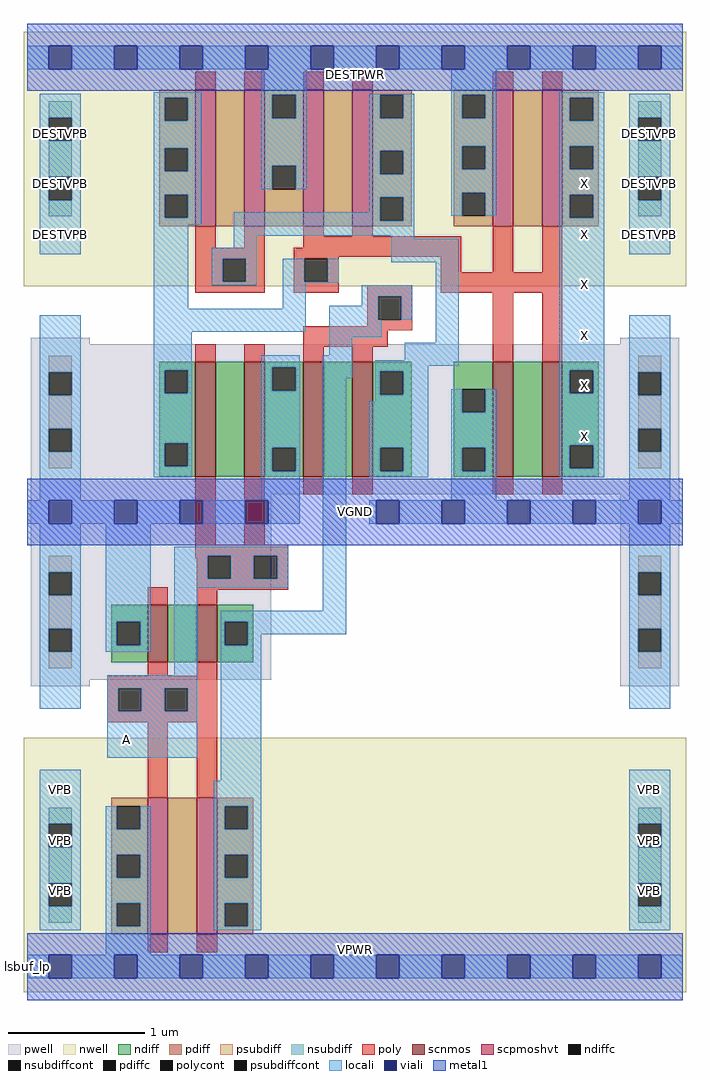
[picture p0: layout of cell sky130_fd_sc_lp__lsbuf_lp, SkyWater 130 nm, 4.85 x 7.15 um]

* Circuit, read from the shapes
.subckt sky130_fd_sc_lp__lsbuf_lp A DESTPWR DESTVPB VGND VPB VPWR X
XM1 n1 A VGND VGND sky130_fd_pr__nfet_01v8 w=0.42 l=0.15
XM2 n2 A n3 VGND sky130_fd_pr__nfet_01v8 w=0.84 l=0.15
XM3 n4 A n1 VGND sky130_fd_pr__nfet_01v8 w=0.42 l=0.15
XM4 VGND A n2 VGND sky130_fd_pr__nfet_01v8 w=0.84 l=0.15
XM5 n5 n4 VGND VGND sky130_fd_pr__nfet_01v8 w=0.84 l=0.15
XM6 n6 n4 n5 VGND sky130_fd_pr__nfet_01v8 w=0.84 l=0.15
XM7 n7 n3 VGND VGND sky130_fd_pr__nfet_01v8 w=0.84 l=0.15
XM8 X n3 n7 VGND sky130_fd_pr__nfet_01v8 w=0.84 l=0.15
XM9 n8 A VPWR VPB sky130_fd_pr__pfet_01v8_hvt w=1 l=0.15
XM10 n9 n6 n3 DESTVPB sky130_fd_pr__pfet_01v8_hvt w=1 l=0.15
XM11 n4 A n8 VPB sky130_fd_pr__pfet_01v8_hvt w=1 l=0.15
XM12 DESTPWR n6 n9 DESTVPB sky130_fd_pr__pfet_01v8_hvt w=1 l=0.15
XM13 n10 n3 DESTPWR DESTVPB sky130_fd_pr__pfet_01v8_hvt w=1 l=0.15
XM14 n6 n3 n10 DESTVPB sky130_fd_pr__pfet_01v8_hvt w=1 l=0.15
XM15 n11 n3 DESTPWR DESTVPB sky130_fd_pr__pfet_01v8_hvt w=1 l=0.15
XM16 X n3 n11 DESTVPB sky130_fd_pr__pfet_01v8_hvt w=1 l=0.15
.ends

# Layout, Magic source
magic
tech sky130A
magscale 1 2
<< nwell >>
rect -5 997 965 1370
rect -5 -38 965 335
<< pwell >>
rect 5 912 91 921
rect 869 912 955 921
rect 5 692 955 912
rect 5 420 357 692
rect 5 411 91 420
rect 869 411 955 692
<< scnmos >>
rect 246 718 276 886
rect 318 718 348 886
rect 404 718 434 886
rect 476 718 506 886
rect 682 718 712 886
rect 754 718 784 886
rect 176 446 206 530
rect 248 446 278 530
<< scpmoshvt >>
rect 246 1085 276 1285
rect 318 1085 348 1285
rect 404 1085 434 1285
rect 476 1085 506 1285
rect 682 1085 712 1285
rect 754 1085 784 1285
rect 176 47 206 247
rect 248 47 278 247
<< ndiff >>
rect 193 874 246 886
rect 193 840 201 874
rect 235 840 246 874
rect 193 767 246 840
rect 193 733 201 767
rect 235 733 246 767
rect 193 718 246 733
rect 276 718 318 886
rect 348 878 404 886
rect 348 844 359 878
rect 393 844 404 878
rect 348 760 404 844
rect 348 726 359 760
rect 393 726 404 760
rect 348 718 404 726
rect 434 718 476 886
rect 506 872 563 886
rect 506 838 517 872
rect 551 838 563 872
rect 506 760 563 838
rect 506 726 517 760
rect 551 726 563 760
rect 506 718 563 726
rect 625 846 682 886
rect 625 812 637 846
rect 671 812 682 846
rect 625 760 682 812
rect 625 726 637 760
rect 671 726 682 760
rect 625 718 682 726
rect 712 718 754 886
rect 784 874 837 886
rect 784 840 795 874
rect 829 840 837 874
rect 784 764 837 840
rect 784 730 795 764
rect 829 730 837 764
rect 784 718 837 730
rect 123 505 176 530
rect 123 471 131 505
rect 165 471 176 505
rect 123 446 176 471
rect 206 446 248 530
rect 278 505 331 530
rect 278 471 289 505
rect 323 471 331 505
rect 278 446 331 471
<< pdiff >>
rect 193 1273 246 1285
rect 193 1239 201 1273
rect 235 1239 246 1273
rect 193 1199 246 1239
rect 193 1165 201 1199
rect 235 1165 246 1199
rect 193 1131 246 1165
rect 193 1097 201 1131
rect 235 1097 246 1131
rect 193 1085 246 1097
rect 276 1085 318 1285
rect 348 1277 404 1285
rect 348 1243 359 1277
rect 393 1243 404 1277
rect 348 1173 404 1243
rect 348 1139 359 1173
rect 393 1139 404 1173
rect 348 1085 404 1139
rect 434 1085 476 1285
rect 506 1277 563 1285
rect 506 1243 517 1277
rect 551 1243 563 1277
rect 506 1195 563 1243
rect 506 1161 517 1195
rect 551 1161 563 1195
rect 506 1127 563 1161
rect 506 1093 517 1127
rect 551 1093 563 1127
rect 506 1085 563 1093
rect 625 1277 682 1285
rect 625 1243 637 1277
rect 671 1243 682 1277
rect 625 1202 682 1243
rect 625 1168 637 1202
rect 671 1168 682 1202
rect 625 1134 682 1168
rect 625 1100 637 1134
rect 671 1100 682 1134
rect 625 1085 682 1100
rect 712 1085 754 1285
rect 784 1273 837 1285
rect 784 1239 795 1273
rect 829 1239 837 1273
rect 784 1202 837 1239
rect 784 1168 795 1202
rect 829 1168 837 1202
rect 784 1131 837 1168
rect 784 1097 795 1131
rect 829 1097 837 1131
rect 784 1085 837 1097
rect 123 235 176 247
rect 123 201 131 235
rect 165 201 176 235
rect 123 164 176 201
rect 123 130 131 164
rect 165 130 176 164
rect 123 93 176 130
rect 123 59 131 93
rect 165 59 176 93
rect 123 47 176 59
rect 206 47 248 247
rect 278 235 331 247
rect 278 201 289 235
rect 323 201 331 235
rect 278 164 331 201
rect 278 130 289 164
rect 323 130 331 164
rect 278 93 331 130
rect 278 59 289 93
rect 323 59 331 93
rect 278 47 331 59
<< ndiffc >>
rect 201 840 235 874
rect 201 733 235 767
rect 359 844 393 878
rect 359 726 393 760
rect 517 838 551 872
rect 517 726 551 760
rect 637 812 671 846
rect 637 726 671 760
rect 795 840 829 874
rect 795 730 829 764
rect 131 471 165 505
rect 289 471 323 505
<< pdiffc >>
rect 201 1239 235 1273
rect 201 1165 235 1199
rect 201 1097 235 1131
rect 359 1243 393 1277
rect 359 1139 393 1173
rect 517 1243 551 1277
rect 517 1161 551 1195
rect 517 1093 551 1127
rect 637 1243 671 1277
rect 637 1168 671 1202
rect 637 1100 671 1134
rect 795 1239 829 1273
rect 795 1168 829 1202
rect 795 1097 829 1131
rect 131 201 165 235
rect 131 130 165 164
rect 131 59 165 93
rect 289 201 323 235
rect 289 130 323 164
rect 289 59 323 93
<< psubdiff >>
rect 31 871 65 895
rect 31 788 65 837
rect 31 730 65 754
rect 895 871 929 895
rect 895 788 929 837
rect 895 730 929 754
rect 31 578 65 602
rect 31 495 65 544
rect 895 578 929 602
rect 31 437 65 461
rect 895 495 929 544
rect 895 437 929 461
<< nsubdiff >>
rect 31 1244 65 1268
rect 31 1157 65 1210
rect 31 1099 65 1123
rect 895 1244 929 1268
rect 895 1157 929 1210
rect 895 1099 929 1123
rect 31 209 65 233
rect 31 122 65 175
rect 31 64 65 88
rect 895 209 929 233
rect 895 122 929 175
rect 895 64 929 88
<< psubdiffcont >>
rect 31 837 65 871
rect 31 754 65 788
rect 895 837 929 871
rect 895 754 929 788
rect 31 544 65 578
rect 895 544 929 578
rect 31 461 65 495
rect 895 461 929 495
<< nsubdiffcont >>
rect 31 1210 65 1244
rect 31 1123 65 1157
rect 895 1210 929 1244
rect 895 1123 929 1157
rect 31 175 65 209
rect 31 88 65 122
rect 895 175 929 209
rect 895 88 929 122
<< poly >>
rect 246 1285 276 1311
rect 318 1285 348 1311
rect 404 1285 434 1311
rect 476 1285 506 1311
rect 682 1285 712 1311
rect 754 1285 784 1311
rect 246 1053 276 1085
rect 318 1053 348 1085
rect 404 1070 434 1085
rect 476 1070 506 1085
rect 404 1053 636 1070
rect 246 1037 348 1053
rect 246 1003 286 1037
rect 320 1003 348 1037
rect 246 987 348 1003
rect 390 1040 636 1053
rect 390 1037 456 1040
rect 390 1003 406 1037
rect 440 1003 456 1037
rect 390 987 456 1003
rect 606 1017 636 1040
rect 682 1017 712 1085
rect 754 1017 784 1085
rect 498 982 564 998
rect 606 987 784 1017
rect 498 948 514 982
rect 548 948 564 982
rect 498 938 564 948
rect 404 932 564 938
rect 246 886 276 912
rect 318 886 348 912
rect 404 908 528 932
rect 404 886 434 908
rect 476 886 506 908
rect 682 886 712 987
rect 754 886 784 987
rect 246 618 276 718
rect 318 618 348 718
rect 404 692 434 718
rect 476 692 506 718
rect 682 692 712 718
rect 754 692 784 718
rect 246 602 382 618
rect 246 598 264 602
rect 248 568 264 598
rect 298 568 332 602
rect 366 568 382 602
rect 176 530 206 556
rect 248 552 382 568
rect 248 530 278 552
rect 176 426 206 446
rect 248 426 278 446
rect 117 408 278 426
rect 117 374 133 408
rect 167 374 201 408
rect 235 374 278 408
rect 117 358 278 374
rect 176 247 206 358
rect 248 247 278 358
rect 176 21 206 47
rect 248 21 278 47
<< polycont >>
rect 286 1003 320 1037
rect 406 1003 440 1037
rect 514 948 548 982
rect 264 568 298 602
rect 332 568 366 602
rect 133 374 167 408
rect 201 374 235 408
<< locali >>
rect 0 1315 31 1349
rect 65 1315 127 1349
rect 161 1315 223 1349
rect 257 1315 319 1349
rect 353 1315 415 1349
rect 449 1315 511 1349
rect 545 1315 607 1349
rect 641 1315 703 1349
rect 737 1315 799 1349
rect 833 1315 895 1349
rect 929 1315 960 1349
rect 18 1244 78 1279
rect 18 1210 31 1244
rect 65 1210 78 1244
rect 18 1157 78 1210
rect 18 1123 31 1157
rect 65 1123 78 1157
rect 18 1044 78 1123
rect 185 1273 255 1281
rect 185 1239 201 1273
rect 235 1239 255 1273
rect 185 1199 255 1239
rect 185 1165 201 1199
rect 235 1165 255 1199
rect 185 1131 255 1165
rect 343 1277 409 1315
rect 343 1243 359 1277
rect 393 1243 409 1277
rect 343 1173 409 1243
rect 343 1139 359 1173
rect 393 1139 409 1173
rect 501 1277 567 1279
rect 501 1243 517 1277
rect 551 1243 567 1277
rect 501 1195 567 1243
rect 501 1161 517 1195
rect 551 1161 567 1195
rect 185 1097 201 1131
rect 235 1097 255 1131
rect 501 1127 567 1161
rect 501 1105 517 1127
rect 185 1087 255 1097
rect 302 1093 517 1105
rect 551 1093 567 1127
rect 621 1277 687 1315
rect 621 1243 637 1277
rect 671 1243 687 1277
rect 621 1202 687 1243
rect 621 1168 637 1202
rect 671 1168 687 1202
rect 621 1134 687 1168
rect 621 1100 637 1134
rect 671 1100 687 1134
rect 779 1273 845 1281
rect 779 1239 795 1273
rect 829 1239 845 1273
rect 779 1202 845 1239
rect 779 1168 795 1202
rect 829 1168 845 1202
rect 779 1131 845 1168
rect 185 964 236 1087
rect 302 1071 567 1093
rect 302 1053 336 1071
rect 270 1037 336 1053
rect 533 1066 567 1071
rect 779 1097 795 1131
rect 829 1097 845 1131
rect 270 1003 286 1037
rect 320 1003 336 1037
rect 270 998 336 1003
rect 374 1003 406 1037
rect 440 1003 456 1037
rect 533 1032 632 1066
rect 374 1002 456 1003
rect 374 964 408 1002
rect 490 982 564 998
rect 490 968 514 982
rect 18 871 78 954
rect 18 837 31 871
rect 65 837 78 871
rect 18 788 78 837
rect 18 754 31 788
rect 65 754 78 788
rect 18 683 78 754
rect 185 930 408 964
rect 442 948 514 968
rect 548 948 564 982
rect 185 874 241 930
rect 442 922 519 948
rect 442 896 476 922
rect 598 914 632 1032
rect 185 840 201 874
rect 235 840 241 874
rect 185 767 241 840
rect 185 733 201 767
rect 235 733 241 767
rect 185 717 241 733
rect 343 878 399 896
rect 343 844 359 878
rect 393 844 399 878
rect 343 760 399 844
rect 343 726 359 760
rect 393 726 399 760
rect 343 683 399 726
rect 0 649 31 683
rect 65 649 127 683
rect 161 649 223 683
rect 257 649 319 683
rect 353 649 399 683
rect 433 862 476 896
rect 553 888 632 914
rect 510 880 632 888
rect 510 872 587 880
rect 18 578 78 649
rect 18 544 31 578
rect 65 544 78 578
rect 18 495 78 544
rect 18 461 31 495
rect 65 461 78 495
rect 115 505 181 649
rect 115 471 131 505
rect 165 471 181 505
rect 115 461 181 471
rect 215 602 382 615
rect 215 568 264 602
rect 298 568 332 602
rect 366 568 382 602
rect 215 555 382 568
rect 18 378 78 461
rect 215 427 249 555
rect 433 521 467 862
rect 510 838 517 872
rect 551 838 587 872
rect 779 874 845 1097
rect 882 1244 942 1279
rect 882 1210 895 1244
rect 929 1210 942 1244
rect 882 1157 942 1210
rect 882 1123 895 1157
rect 929 1123 942 1157
rect 882 1044 942 1123
rect 510 828 587 838
rect 501 760 587 828
rect 501 726 517 760
rect 551 726 587 760
rect 501 717 587 726
rect 621 812 637 846
rect 671 812 687 846
rect 621 760 687 812
rect 621 726 637 760
rect 671 726 687 760
rect 621 683 687 726
rect 779 840 795 874
rect 829 840 845 874
rect 779 764 845 840
rect 779 730 795 764
rect 829 730 845 764
rect 779 717 845 730
rect 882 871 942 954
rect 882 837 895 871
rect 929 837 942 871
rect 882 788 942 837
rect 882 754 895 788
rect 929 754 942 788
rect 882 683 942 754
rect 501 649 511 683
rect 545 649 607 683
rect 641 649 703 683
rect 737 649 799 683
rect 833 649 895 683
rect 929 649 960 683
rect 117 408 249 427
rect 117 374 133 408
rect 167 374 201 408
rect 235 374 249 408
rect 117 306 249 374
rect 283 505 467 521
rect 283 471 289 505
rect 323 487 467 505
rect 882 578 942 649
rect 882 544 895 578
rect 929 544 942 578
rect 882 495 942 544
rect 323 471 343 487
rect 18 209 78 288
rect 283 272 343 471
rect 882 461 895 495
rect 929 461 942 495
rect 882 378 942 461
rect 273 235 343 272
rect 18 175 31 209
rect 65 175 78 209
rect 18 122 78 175
rect 18 88 31 122
rect 65 88 78 122
rect 18 53 78 88
rect 115 201 131 235
rect 165 201 181 235
rect 115 164 181 201
rect 115 130 131 164
rect 165 130 181 164
rect 115 93 181 130
rect 115 59 131 93
rect 165 59 181 93
rect 115 17 181 59
rect 273 201 289 235
rect 323 201 343 235
rect 273 164 343 201
rect 273 130 289 164
rect 323 130 343 164
rect 273 93 343 130
rect 273 59 289 93
rect 323 59 343 93
rect 273 53 343 59
rect 882 209 942 288
rect 882 175 895 209
rect 929 175 942 209
rect 882 122 942 175
rect 882 88 895 122
rect 929 88 942 122
rect 882 53 942 88
rect 0 -17 31 17
rect 65 -17 127 17
rect 161 -17 223 17
rect 257 -17 319 17
rect 353 -17 415 17
rect 449 -17 511 17
rect 545 -17 607 17
rect 641 -17 703 17
rect 737 -17 799 17
rect 833 -17 895 17
rect 929 -17 960 17
<< viali >>
rect 31 1315 65 1349
rect 127 1315 161 1349
rect 223 1315 257 1349
rect 319 1315 353 1349
rect 415 1315 449 1349
rect 511 1315 545 1349
rect 607 1315 641 1349
rect 703 1315 737 1349
rect 799 1315 833 1349
rect 895 1315 929 1349
rect 31 649 65 683
rect 127 649 161 683
rect 223 649 257 683
rect 319 649 353 683
rect 511 649 545 683
rect 607 649 641 683
rect 703 649 737 683
rect 799 649 833 683
rect 895 649 929 683
rect 31 -17 65 17
rect 127 -17 161 17
rect 223 -17 257 17
rect 319 -17 353 17
rect 415 -17 449 17
rect 511 -17 545 17
rect 607 -17 641 17
rect 703 -17 737 17
rect 799 -17 833 17
rect 895 -17 929 17
<< metal1 >>
rect 0 1349 960 1381
rect 0 1315 31 1349
rect 65 1315 127 1349
rect 161 1315 223 1349
rect 257 1315 319 1349
rect 353 1315 415 1349
rect 449 1315 511 1349
rect 545 1315 607 1349
rect 641 1315 703 1349
rect 737 1315 799 1349
rect 833 1315 895 1349
rect 929 1315 960 1349
rect 0 1283 960 1315
rect 0 683 960 715
rect 0 649 31 683
rect 65 649 127 683
rect 161 649 223 683
rect 257 649 319 683
rect 353 649 511 683
rect 545 649 607 683
rect 641 649 703 683
rect 737 649 799 683
rect 833 649 895 683
rect 929 649 960 683
rect 0 617 960 649
rect 0 17 960 49
rect 0 -17 31 17
rect 65 -17 127 17
rect 161 -17 223 17
rect 257 -17 319 17
rect 353 -17 415 17
rect 449 -17 511 17
rect 545 -17 607 17
rect 641 -17 703 17
rect 737 -17 799 17
rect 833 -17 895 17
rect 929 -17 960 17
rect 0 -49 960 -17
<< labels >>
flabel locali s 799 760 833 794 0 FreeSans 200 0 0 0 X
port 7 nsew signal output
flabel locali s 799 834 833 868 0 FreeSans 200 0 0 0 X
port 7 nsew signal output
flabel locali s 799 1130 833 1164 0 FreeSans 200 0 0 0 X
port 7 nsew signal output
flabel locali s 799 1056 833 1090 0 FreeSans 200 0 0 0 X
port 7 nsew signal output
flabel locali s 799 982 833 1016 0 FreeSans 200 0 0 0 X
port 7 nsew signal output
flabel locali s 799 908 833 942 0 FreeSans 200 0 0 0 X
port 7 nsew signal output
flabel locali s 128 316 162 350 0 FreeSans 200 0 0 0 A
port 1 nsew signal input
flabel locali s 31 242 65 276 0 FreeSans 340 0 0 0 VPB
port 5 nsew power bidirectional
flabel locali s 31 94 65 128 0 FreeSans 340 0 0 0 VPB
port 5 nsew power bidirectional
flabel locali s 31 168 65 202 0 FreeSans 340 0 0 0 VPB
port 5 nsew power bidirectional
flabel locali s 31 1204 65 1238 0 FreeSans 150 0 0 0 DESTVPB
port 3 nsew power bidirectional
flabel locali s 31 1130 65 1164 0 FreeSans 150 0 0 0 DESTVPB
port 3 nsew power bidirectional
flabel locali s 895 94 929 128 0 FreeSans 340 0 0 0 VPB
port 5 nsew power bidirectional
flabel locali s 895 168 929 202 0 FreeSans 340 0 0 0 VPB
port 5 nsew power bidirectional
flabel locali s 895 1204 929 1238 0 FreeSans 150 0 0 0 DESTVPB
port 3 nsew power bidirectional
flabel locali s 895 1130 929 1164 0 FreeSans 150 0 0 0 DESTVPB
port 3 nsew power bidirectional
flabel locali s 895 1056 929 1090 0 FreeSans 150 0 0 0 DESTVPB
port 3 nsew power bidirectional
flabel locali s 895 242 929 276 0 FreeSans 340 0 0 0 VPB
port 5 nsew power bidirectional
flabel locali s 31 1056 65 1090 0 FreeSans 150 0 0 0 DESTVPB
port 3 nsew power bidirectional
rlabel comment s 0 0 0 0 4 lsbuf_lp
flabel metal1 s 0 0 960 49 0 FreeSans 200 0 0 0 VPWR
port 6 nsew power bidirectional
flabel metal1 s 0 1283 960 1332 0 FreeSans 200 0 0 0 DESTPWR
port 2 nsew power bidirectional
flabel metal1 s 0 617 960 715 0 FreeSans 200 0 0 0 VGND
port 4 nsew ground bidirectional
<< properties >>
string LEFsite unit
string LEFclass CORE
string FIXED_BBOX 0 0 960 1332
string GDS_FILE $PDKPATH/libs.ref/sky130_fd_sc_lp/gds/sky130_fd_sc_lp.gds
string LEFsymmetry X Y R90
string GDS_END 474048
string GDS_START 460884
<< end >>
